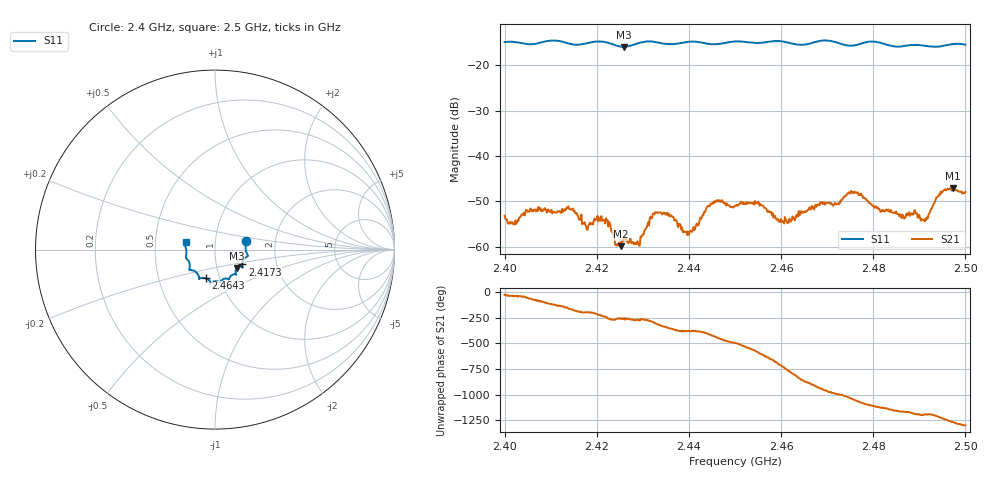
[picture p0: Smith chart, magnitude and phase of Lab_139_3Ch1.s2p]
# Hz S RI R 50
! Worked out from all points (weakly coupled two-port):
!   601 points, 2.4 GHz to 2.5 GHz, reference 50 ohm
!   highest |S21| = -47.19 dB at 2.4973 GHz (marker M1); lowest = -59.9 dB at 2.4252 GHz (marker M2)
!   lowest |S11| = -15.9 dB at 2.4258 GHz (marker M3), VSWR 1.38, Z = 62.3 - j13.2 ohm
!   |S11| at or under -10 dB: start of sweep to end of sweep
!   S12 and S22 are empty: the file has one direction only
!   S11 on the Smith chart (normalised r, x): 2.4 GHz: 1.41, +0.14; 2.4173 GHz: 1.34, -0.23; 2.4643 GHz: 0.86, -0.28; 2.5 GHz: 0.72, +0.06
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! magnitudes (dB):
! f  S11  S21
! 2.4 GHz  -14.9  -53.2
! 2.4138 GHz  -15.2  -51.1
! 2.4167 GHz  -15.4  -52.9
! 2.4173 GHz  -15.3  -54.6
! 2.4218 GHz  -14.9  -54.9
! 2.4252 GHz  -15.9  -59.9
! 2.4258 GHz  -15.9  -58.3
! 2.4288 GHz  -15.2  -58.8
! 2.4333 GHz  -15.0  -52.6
! 2.4395 GHz  -14.9  -56.7
! 2.4452 GHz  -15.4  -50.5
! 2.45 GHz  -14.7  -51.1
! 2.4548 GHz  -15.1  -50.5
! 2.4602 GHz  -14.7  -54.5
! 2.4643 GHz  -15.5  -52.7
! 2.4667 GHz  -15.1  -51.0
! 2.4757 GHz  -15.7  -47.9
! 2.4833 GHz  -15.6  -51.8
! 2.4913 GHz  -15.7  -53.8
! 2.4942 GHz  -15.9  -48.9
! 2.4973 GHz  -15.3  -47.2
! 2.5 GHz  -15.5  -47.9
